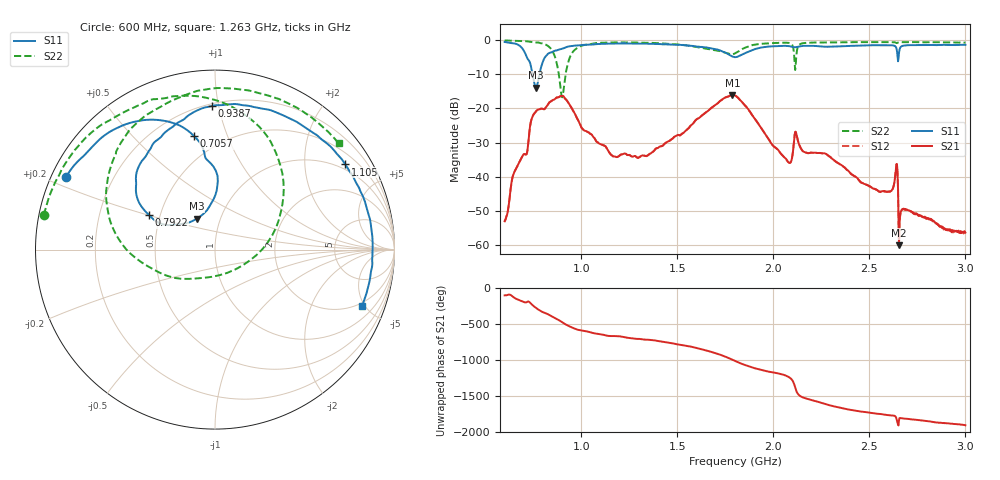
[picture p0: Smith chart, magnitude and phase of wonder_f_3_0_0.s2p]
#  HZ  S  RI  R  50.00
! Rohde & Schwarz ZVB8 2Ports - Version 2.81 - 1145.1010k08 SN: 100113
! Date: 2016-05-12 03:16:14
! Measurements: S11 S21 S12 S22
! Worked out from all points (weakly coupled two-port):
!   1000 points, 600 MHz to 3 GHz, reference 50 ohm
!   highest |S21| = -16.16 dB at 1.787 GHz (marker M1); lowest = -60.0 dB at 2.654 GHz (marker M2)
!   lowest |S11| = -14.0 dB at 763.4 MHz (marker M3), VSWR 1.50, Z = 38.6 + j13.8 ohm
!   |S11| at or under -10 dB: 745.6 MHz to 782.4 MHz (36.79 MHz wide, 4.82 % of centre)
!   |S22| runs from -16.8 to -0.2 dB; largest |S21 - S12| = 0.0011
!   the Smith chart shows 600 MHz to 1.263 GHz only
!   S11 on the Smith chart (normalised r, x): 600 MHz: 0.04, +0.23; 705.7 MHz: 0.36, +0.77; 792.2 MHz: 0.43, +0.20; 938.7 MHz: 0.21, +0.95; 1.105 GHz: 0.83, +3.16; 1.263 GHz: 1.72, -4.77
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6e8  -0.8323 0.4029  -0.0004 -0.00222  -0.00033 -0.00217  -0.9536 0.1929
7.057057e8  -0.1175 0.6325  -0.0204 0.00633  -0.0203 0.00661  -0.7024 0.6396
7.633634e8  -0.1021 0.172  0.00571 0.0901  0.00545 0.0894  -0.4262 0.8039
7.921922e8  -0.3672 0.1921  0.0791 0.0594  0.0791 0.059  -0.2372 0.8538
8.690691e8  -0.3033 0.625  0.0611 -0.1285  0.061 -0.1281  0.3813 0.2973
9.003003e8  -0.1963 0.713  -0.0594 -0.1387  -0.0593 -0.1392  0.0263 -0.1421
9.387387e8  -0.019 0.7998  -0.1112 -0.0159  -0.1111 -0.0158  -0.5376 0.0604
1.001201e9  0.298 0.7798  -0.0337 0.0392  -0.0337 0.0391  -0.4792 0.6618
1.104505e9  0.7255 0.4747  0.00639 0.0289  0.00635 0.029  0.0577 0.8991
1.263063e9  0.8193 -0.3165  0.0182 0.00786  0.0182 0.00784  0.6888 0.5918
1.4e9  0.3512 -0.7886  0.0257 -0.00674  0.0257 -0.00673  0.886 0.0677
1.623423e9  -0.5409 -0.5678  -0.047 -0.0605  -0.047 -0.0605  0.4916 -0.5826
1.786787e9  -0.5614 -0.0795  0.0113 0.1552  0.0115 0.1553  0.2126 -0.5743
1.801201e9  -0.5482 -0.0879  0.0586 0.1409  0.0589 0.1412  0.2345 -0.5889
1.976577e9  -0.7144 0.3457  0.00548 -0.0345  0.00551 -0.0344  -0.1974 -0.8597
2.106306e9  -0.3529 0.6885  -0.0147 0.0269  -0.0147 0.0269  -0.5881 -0.3189
2.2e9  -0.0305 0.8126  -0.0103 -0.0201  -0.0102 -0.02  -0.6674 -0.6123
2.601201e9  0.7501 -0.3593  0.00508 0.00338  0.00506 0.00331  -0.8714 0.2906
2.637237e9  0.5724 -0.5384  0.0121 0.00216  0.012 0.00219  -0.8269 0.3633
2.654054e9  0.5803 -0.2549  0.000746 -0.000669  0.000745 -0.00063  -0.832 0.3795
2.798198e9  0.1796 -0.8155  0.00165 -0.00187  0.0017 -0.0018  -0.6371 0.6593
3e9  -0.5318 -0.6483  -0.000441 -0.00148  -0.00037 -0.00148  -0.2096 0.8811
